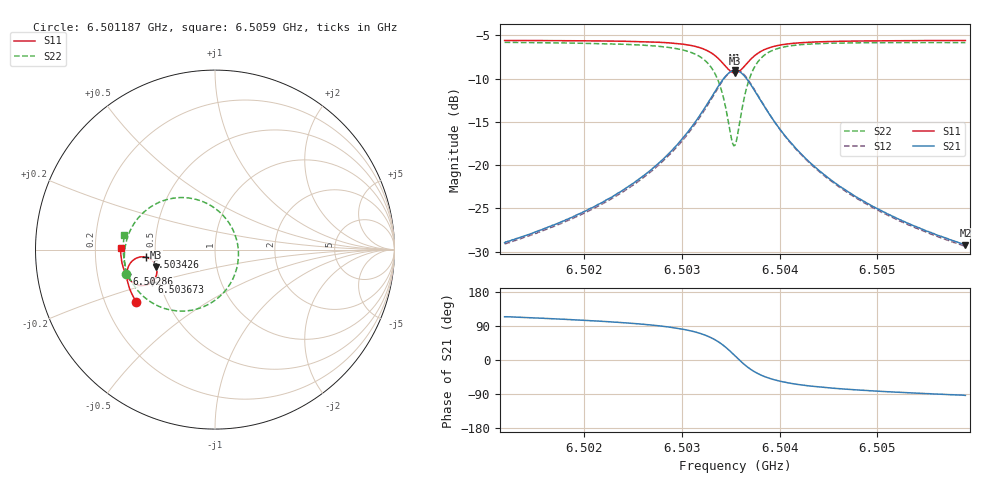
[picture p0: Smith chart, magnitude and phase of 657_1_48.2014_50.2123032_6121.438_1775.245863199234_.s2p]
#  HZ  S  RI  R  50.00
! Rohde & Schwarz Vector Network Analyzer
! Rohde-Schwarz,ZNB20-2Port,1311601062101988,3.16
! Created: UTC 3/20/2024, 12:05:33 PM
! freq[Hz]  re:S11  im:S11  re:S21  im:S21  re:S12  im:S12  re:S22  im:S22
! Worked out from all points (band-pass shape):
!   401 points, 6.501187 GHz to 6.5059 GHz, reference 50 ohm
!   highest |S21| = -9.04 dB at 6.503544 GHz (marker M1); lowest = -29.2 dB at 6.5059 GHz (marker M2)
!   |S21| within 3 dB of the highest: 6.503309 GHz to 6.50378 GHz (471.4 kHz wide, 0.00725 % of centre)
!   lowest |S11| = -9.3 dB at 6.503544 GHz (marker M3), VSWR 2.03, Z = 25 - j5.49 ohm
!   |S11| at or under -10 dB: nowhere
!   |S22| runs from -17.8 to -5.8 dB; largest |S21 - S12| = 0.013
!   S11 on the Smith chart (normalised r, x): 6.501187 GHz: 0.34, -0.27; 6.50286 GHz: 0.33, -0.12; 6.503426 GHz: 0.45, -0.04; 6.503673 GHz: 0.46, -0.19; 6.5059 GHz: 0.31, +0.01
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6.5011873e9  -0.4376 -0.2923  -0.0145 0.0325  -0.0128 0.0326  -0.4955 -0.1341
6.5019767e9  -0.4699 -0.2318  -0.0137 0.0512  -0.0111 0.0508  -0.5052 -0.0464
6.5023891e9  -0.4834 -0.194  -0.0106 0.0704  -0.00728 0.0693  -0.5003 0.0153
6.5027661e9  -0.4913 -0.1504  -0.000468 0.1031  0.00369 0.1004  -0.4772 0.0957
6.5028603e9  -0.4915 -0.137  0.00561 0.1156  0.00974 0.1124  -0.4643 0.1225
6.5030606e9  -0.4856 -0.1023  0.0307 0.1523  0.0348 0.1473  -0.4124 0.1934
6.503202e9  -0.4689 -0.0719  0.0722 0.1874  0.0755 0.1809  -0.332 0.2535
6.5033316e9  -0.4311 -0.045  0.1525 0.2136  0.1537 0.2067  -0.186 0.29
6.5034259e9  -0.3826 -0.0428  0.2476 0.196  0.248 0.1906  -0.0215 0.2444
6.5035084e9  -0.3381 -0.0739  0.3287 0.1181  0.3317 0.1129  0.1087 0.0904
6.5035437e9  -0.3268 -0.0973  0.3469 0.0672  0.3511 0.0606  0.1302 -0.00532
6.5035673e9  -0.3239 -0.1143  0.3504 0.031  0.3549 0.0231  0.1276 -0.0718
6.5036026e9  -0.3261 -0.1396  0.3426 -0.0212  0.3465 -0.0316  0.099 -0.1648
6.5036733e9  -0.3496 -0.1785  0.2936 -0.1008  0.2933 -0.1138  -0.0168 -0.2937
6.5037676e9  -0.3922 -0.1991  0.2117 -0.1454  0.2061 -0.157  -0.1838 -0.3426
6.5038383e9  -0.4194 -0.1991  0.1618 -0.1507  0.1545 -0.1596  -0.2768 -0.3294
6.5039207e9  -0.4433 -0.1917  0.1198 -0.1443  0.1117 -0.1505  -0.3508 -0.2963
6.5040857e9  -0.4731 -0.1703  0.07 -0.1224  0.0627 -0.125  -0.4317 -0.2267
6.5043331e9  -0.496 -0.139  0.0357 -0.0942  0.0303 -0.095  -0.4811 -0.1467
6.5046984e9  -0.5118 -0.0993  0.0155 -0.0686  0.0116 -0.0683  -0.5049 -0.0678
6.5051225e9  -0.521 -0.0591  0.00557 -0.0514  0.00284 -0.0507  -0.5114 -0.00404
6.5059001e9  -0.5261 0.00791  -0.00206 -0.0345  -0.00344 -0.0338  -0.5047 0.0823
